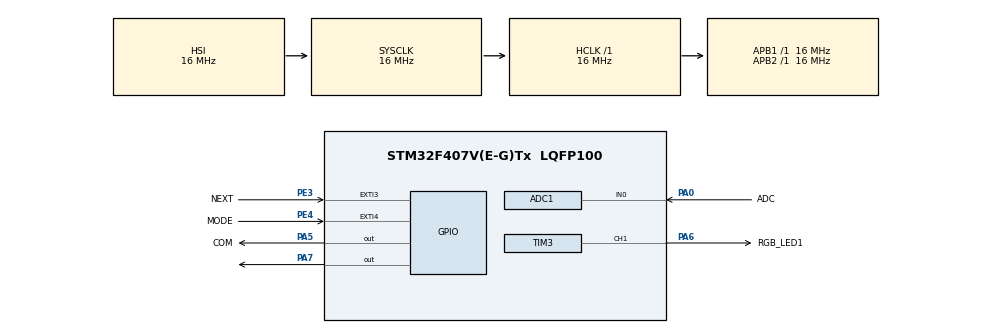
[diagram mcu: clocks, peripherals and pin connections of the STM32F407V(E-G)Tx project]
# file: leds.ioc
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ADC1.Channel-0\#ChannelRegularConversion=ADC_CHANNEL_0
ADC1.ContinuousConvMode=DISABLE
ADC1.DMAContinuousRequests=DISABLE
ADC1.NbrOfConversionFlag=1
ADC1.Rank-0\#ChannelRegularConversion=1
ADC1.SamplingTime-0\#ChannelRegularConversion=ADC_SAMPLETIME_15CYCLES
ADC1.master=1
Dma.Request0=TIM3_CH1/TRIG
Dma.TIM3_CH1/TRIG.0.Direction=DMA_MEMORY_TO_PERIPH
Dma.TIM3_CH1/TRIG.0.FIFOMode=DMA_FIFOMODE_DISABLE
Dma.TIM3_CH1/TRIG.0.Instance=DMA1_Stream4
Dma.TIM3_CH1/TRIG.0.MemDataAlignment=DMA_MDATAALIGN_HALFWORD
Dma.TIM3_CH1/TRIG.0.MemInc=DMA_MINC_ENABLE
Dma.TIM3_CH1/TRIG.0.Mode=DMA_CIRCULAR
Dma.TIM3_CH1/TRIG.0.PeriphDataAlignment=DMA_PDATAALIGN_HALFWORD
Dma.TIM3_CH1/TRIG.0.PeriphInc=DMA_PINC_DISABLE
Dma.TIM3_CH1/TRIG.0.Priority=DMA_PRIORITY_HIGH
Mcu.Family=STM32F4
Mcu.Name=STM32F407V(E-G)Tx
Mcu.Package=LQFP100
Mcu.UserConstants=LED_CNT,20
NVIC.DMA1_Stream4_IRQn=true\:0\:0\:false\:false\:true\:false\:true\:true
NVIC.EXTI3_IRQn=true\:2\:0\:true\:false\:true\:true\:true\:true
NVIC.EXTI4_IRQn=true\:2\:0\:true\:false\:true\:true\:true\:true
NVIC.PriorityGroup=NVIC_PRIORITYGROUP_4
NVIC.RCC_IRQn=true\:0\:0\:false\:false\:true\:true\:false\:true
PA0-WKUP.GPIO_Label=ADC
PA0-WKUP.Signal=ADCx_IN0
PA13.Mode=Serial_Wire
PA13.Signal=SYS_JTMS-SWDIO
PA14.Mode=Serial_Wire
PA14.Signal=SYS_JTCK-SWCLK
PA5.GPIO_Label=COM
PA5.Signal=GPIO_Output
PA6.GPIO_Label=RGB_LED1
PA6.Signal=S_TIM3_CH1
PA7.Signal=GPIO_Output
PE3.GPIO_Label=NEXT
PE3.GPIO_ModeDefaultEXTI=GPIO_MODE_IT_FALLING
PE3.GPIO_PuPd=GPIO_PULLUP
PE3.Signal=GPXTI3
PE4.GPIO_Label=MODE
PE4.GPIO_ModeDefaultEXTI=GPIO_MODE_IT_FALLING
PE4.GPIO_PuPd=GPIO_PULLUP
PE4.Signal=GPXTI4
ProjectManager.HeapSize=0x200
ProjectManager.StackSize=0x400
ProjectManager.TargetToolchain=STM32CubeIDE
RCC.48MHZClocksFreq_Value=20000000
RCC.AHBFreq_Value=16000000
RCC.APB1Freq_Value=16000000
RCC.APB1TimFreq_Value=16000000
RCC.APB2Freq_Value=16000000
RCC.APB2TimFreq_Value=16000000
RCC.CortexFreq_Value=16000000
RCC.HCLKFreq_Value=16000000
RCC.HSE_VALUE=25000000
RCC.HSI_VALUE=16000000
RCC.LSE_VALUE=32768
RCC.PLLM=8
RCC.PLLN=50
RCC.PLLQ=5
RCC.SYSCLKFreq_VALUE=16000000
RCC.VCOOutputFreq_Value=100000000
SH.ADCx_IN0.0=ADC1_IN0,IN0
SH.S_TIM3_CH1.0=TIM3_CH1,PWM Generation1 CH1
STMicroelectronics.X-CUBE-ALGOBUILD.1.4.0.LibraryCcDSPOoLibraryJjDSPOoLibrary=true
TIM3.Channel-PWM\ Generation1\ CH1=TIM_CHANNEL_1
TIM3.Period=LED_CNT
VP_STMicroelectronics.X-CUBE-ALGOBUILD_VS_DSPOoLibraryJjLibrary_1.4.0_1.4.0.Mode=DSPOoLibraryJjLibrary
VP_TIM3_VS_ClockSourceINT.Mode=Internal
board=custom

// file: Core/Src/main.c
/* USER CODE BEGIN Header */
/**
  ******************************************************************************
  * @file           : main.c
  * @brief          : Main program body
  ******************************************************************************
  * @attention
  *
  * Copyright (c) 2025 STMicroelectronics.
  * All rights reserved.
  *
  * This software is licensed under terms that can be found in the LICENSE file
  * in the root directory of this software component.
  * If no LICENSE file comes with this software, it is provided AS-IS.
  *
  ******************************************************************************
  */
/* USER CODE END Header */
#include "main.h"

/* USER CODE BEGIN Includes */

#include <string.h>
#include <stdint.h>
#include <stdlib.h>
#include <stdbool.h>
#include "color_values.h"
#include "ws2812_demos.h"
#include "arm_math.h"
/* USER CODE END Includes */

/* USER CODE BEGIN PD */
#define FFT_LENGTH 512

/* USER CODE END PD */

ADC_HandleTypeDef hadc1;

TIM_HandleTypeDef htim3;
DMA_HandleTypeDef hdma_tim3_ch1_trig;

/* USER CODE BEGIN PV */
uint8_t mode = 0;
uint8_t next = 0;
float input_fft[FFT_LENGTH];
float output_fft[FFT_LENGTH];
float output_fft_mag[FFT_LENGTH / 2];
ADC_HandleTypeDef hadc1;
ws2812_handleTypeDef ws2812;
arm_rfft_fast_instance_f32 fft_instance;

/* USER CODE END PV */

void SystemClock_Config(void);
static void MX_GPIO_Init(void);
static void MX_DMA_Init(void);
static void MX_TIM3_Init(void);
static void MX_ADC1_Init(void);

/* USER CODE BEGIN 0 */

void HAL_TIM_PWM_PulseFinishedHalfCpltCallback(TIM_HandleTypeDef *htim) {

    if (htim->Instance == TIM3) {
        ws2812_update_buffer(&ws2812, &ws2812.dma_buffer[0]);
    }
}
void HAL_TIM_PWM_PulseFinishedCallback(TIM_HandleTypeDef *htim) {

    if (htim->Instance == TIM3) {
        ws2812_update_buffer(&ws2812, &ws2812.dma_buffer[BUFFER_SIZE]);
    }

}
void ws2812_demos_freq(arm_rfft_fast_instance_f32 fft_instance, ws2812_handleTypeDef *ws2812)
{
	uint16_t adc_value = 0;
	  for (int i = 0; i < FFT_LENGTH; i++) {
		  HAL_ADC_Start(&hadc1);
		  adc_value = HAL_ADC_GetValue(&hadc1);
		  HAL_ADC_Stop(&hadc1);
		  input_fft[i] = ((float)adc_value - MINSOUND) / MINSOUND;
	  }
	  arm_rfft_fast_f32(&fft_instance, input_fft, output_fft, 0);
	  arm_cmplx_mag_f32(output_fft, output_fft_mag, FFT_LENGTH / 2);

	  for (int i = 1; i <= LEDS; i++)
	  {
		  float out = ((output_fft_mag[(i*7)]>0.85f)?output_fft_mag[(i*7)]:0);
//		  ws2812.led[3 * i + RL] = color[(uint8_t)out][0];
//		  ws2812.led[3 * i + GL] = color[(uint8_t)out][1];
//		  ws2812.led[3 * i + BL] = color[(uint8_t)out][2];
//		  ws2812.led[3 * i + RL] = out*color[i][0];
//		  ws2812.led[3 * i + GL] = out*color[i][1];
//		  ws2812.led[3 * i + BL] = out*color[i][2];
		  ws2812->led[3 * i + RL] = BRIGHTNESS_ADJUST*out*50;
		  ws2812->led[3 * i + GL] = BRIGHTNESS_ADJUST*out*50;
		  ws2812->led[3 * i + BL] = BRIGHTNESS_ADJUST*out*50;
	  }
	  ws2812->is_dirty = true;

}
void HAL_GPIO_EXTI_Callback(uint16_t GPIO_Pin)
{
    if (GPIO_Pin == GPIO_PIN_4) {
    	mode = (mode + 1)%5;
    	zeroLedValues(&ws2812);
    }
    if (GPIO_Pin == GPIO_PIN_3)
    {
    	next = (next + 1)%3;
    }
}
/* USER CODE END 0 */

int main(void)
{

  /* MCU Configuration--------------------------------------------------------*/

  /* Reset of all peripherals, Initializes the Flash interface and the Systick. */
  HAL_Init();

  /* Configure the system clock */
  SystemClock_Config();

  /* Initialize all configured peripherals */
  MX_GPIO_Init();
  MX_DMA_Init();
  MX_TIM3_Init();
  MX_ADC1_Init();
  /* USER CODE BEGIN 2 */
  __HAL_RCC_GPIOA_CLK_ENABLE();
  arm_rfft_fast_init_f32(&fft_instance, FFT_LENGTH);
  ws2812_init(&ws2812, &htim3, TIM_CHANNEL_1, LEDS);
  ws2812_demos_set(&ws2812, 3);
  //ws2812_demos_set(&ws2812, 1);
  //light_up_all_leds(&ws2812);
  //ws2812_demos_tick(&ws2812);
  /* USER CODE END 2 */

  /* Infinite loop */
  /* USER CODE BEGIN WHILE */
  HAL_ADC_Start(&hadc1);
  uint16_t adc_value = 0;
  HAL_ADC_Start_DMA(&hadc1, (uint32_t*)&adc_value, 1);
  uint32_t now = 0, next_tick = 1000;
  while (1)
  {
	  now = uwTick;
	  if (now < 100)
	  {
		  zeroLedValues(&ws2812);
		  continue;
	  }

//	  ws2812_demos_tick(&ws2812, adc_value);

//	  ws2812_demos_freq(fft_instance, &ws2812, adc_value);
	  switch (mode)
	  {
	  case 0:
		  ws2812_demos_set(&ws2812, 4);
		  ws2812_demos_tick(&ws2812, 0, next);
		  break;
	  case 1:
		  ws2812_demos_set(&ws2812, 5);
		  ws2812_demos_tick(&ws2812, 0, next);
		  break;
	  case 2:
		  ws2812_demos_set(&ws2812, 2);
		  ws2812_demos_tick(&ws2812, 0, next);
		  break;
	  case 3:
		  ws2812_demos_set(&ws2812, 6);
		  ws2812_demos_tick(&ws2812, 0, next);
		  break;
	  case 4:
		  HAL_ADC_Start(&hadc1);
		  adc_value = HAL_ADC_GetValue(&hadc1);
		  HAL_ADC_Stop(&hadc1);
		  ws2812_demos_set(&ws2812, 3);
		  ws2812_demos_tick(&ws2812, adc_value, next);
//		  if (now > next_tick && adc_value > 2150)
//		  {
//			  HAL_GPIO_TogglePin(GPIOA, GPIO_PIN_7);
//			  next_tick = now + 100;
//		  }
		  break;
	  case 5:
		  ws2812_demos_freq(fft_instance, &ws2812);
		  break;
	  default:
	  }

    /* USER CODE END WHILE */

  }
}

void SystemClock_Config(void)
{
  RCC_OscInitTypeDef RCC_OscInitStruct = {0};
  RCC_ClkInitTypeDef RCC_ClkInitStruct = {0};

  /** Configure the main internal regulator output voltage
  */
  __HAL_RCC_PWR_CLK_ENABLE();
  __HAL_PWR_VOLTAGESCALING_CONFIG(PWR_REGULATOR_VOLTAGE_SCALE1);

  /** Initializes the RCC Oscillators according to the specified parameters
  * in the RCC_OscInitTypeDef structure.
  */
  RCC_OscInitStruct.OscillatorType = RCC_OSCILLATORTYPE_HSI;
  RCC_OscInitStruct.HSIState = RCC_HSI_ON;
  RCC_OscInitStruct.HSICalibrationValue = RCC_HSICALIBRATION_DEFAULT;
  RCC_OscInitStruct.PLL.PLLState = RCC_PLL_NONE;
  if (HAL_RCC_OscConfig(&RCC_OscInitStruct) != HAL_OK)
  {
    Error_Handler();
  }

  /** Initializes the CPU, AHB and APB buses clocks
  */
  RCC_ClkInitStruct.ClockType = RCC_CLOCKTYPE_HCLK|RCC_CLOCKTYPE_SYSCLK
                              |RCC_CLOCKTYPE_PCLK1|RCC_CLOCKTYPE_PCLK2;
  RCC_ClkInitStruct.SYSCLKSource = RCC_SYSCLKSOURCE_HSI;
  RCC_ClkInitStruct.AHBCLKDivider = RCC_SYSCLK_DIV1;
  RCC_ClkInitStruct.APB1CLKDivider = RCC_HCLK_DIV1;
  RCC_ClkInitStruct.APB2CLKDivider = RCC_HCLK_DIV1;

  if (HAL_RCC_ClockConfig(&RCC_ClkInitStruct, FLASH_LATENCY_0) != HAL_OK)
  {
    Error_Handler();
  }
}

static void MX_ADC1_Init(void)
{

  ADC_ChannelConfTypeDef sConfig = {0};

  /** Configure the global features of the ADC (Clock, Resolution, Data Alignment and number of conversion)
  */
  hadc1.Instance = ADC1;
  hadc1.Init.ClockPrescaler = ADC_CLOCK_SYNC_PCLK_DIV2;
  hadc1.Init.Resolution = ADC_RESOLUTION_12B;
  hadc1.Init.ScanConvMode = DISABLE;
  hadc1.Init.ContinuousConvMode = DISABLE;
  hadc1.Init.DiscontinuousConvMode = DISABLE;
  hadc1.Init.ExternalTrigConvEdge = ADC_EXTERNALTRIGCONVEDGE_NONE;
  hadc1.Init.ExternalTrigConv = ADC_SOFTWARE_START;
  hadc1.Init.DataAlign = ADC_DATAALIGN_RIGHT;
  hadc1.Init.NbrOfConversion = 1;
  hadc1.Init.DMAContinuousRequests = DISABLE;
  hadc1.Init.EOCSelection = ADC_EOC_SINGLE_CONV;
  if (HAL_ADC_Init(&hadc1) != HAL_OK)
  {
    Error_Handler();
  }

  /** Configure for the selected ADC regular channel its corresponding rank in the sequencer and its sample time.
  */
  sConfig.Channel = ADC_CHANNEL_0;
  sConfig.Rank = 1;
  sConfig.SamplingTime = ADC_SAMPLETIME_15CYCLES;
  if (HAL_ADC_ConfigChannel(&hadc1, &sConfig) != HAL_OK)
  {
    Error_Handler();
  }

}

static void MX_TIM3_Init(void)
{

  TIM_ClockConfigTypeDef sClockSourceConfig = {0};
  TIM_MasterConfigTypeDef sMasterConfig = {0};
  TIM_OC_InitTypeDef sConfigOC = {0};

  htim3.Instance = TIM3;
  htim3.Init.Prescaler = 0;
  htim3.Init.CounterMode = TIM_COUNTERMODE_UP;
  htim3.Init.Period = LED_CNT;
  htim3.Init.ClockDivision = TIM_CLOCKDIVISION_DIV1;
  htim3.Init.AutoReloadPreload = TIM_AUTORELOAD_PRELOAD_DISABLE;
  if (HAL_TIM_Base_Init(&htim3) != HAL_OK)
  {
    Error_Handler();
  }
  sClockSourceConfig.ClockSource = TIM_CLOCKSOURCE_INTERNAL;
  if (HAL_TIM_ConfigClockSource(&htim3, &sClockSourceConfig) != HAL_OK)
  {
    Error_Handler();
  }
  if (HAL_TIM_PWM_Init(&htim3) != HAL_OK)
  {
    Error_Handler();
  }
  sMasterConfig.MasterOutputTrigger = TIM_TRGO_RESET;
  sMasterConfig.MasterSlaveMode = TIM_MASTERSLAVEMODE_DISABLE;
  if (HAL_TIMEx_MasterConfigSynchronization(&htim3, &sMasterConfig) != HAL_OK)
  {
    Error_Handler();
  }
  sConfigOC.OCMode = TIM_OCMODE_PWM1;
  sConfigOC.Pulse = 0;
  sConfigOC.OCPolarity = TIM_OCPOLARITY_HIGH;
  sConfigOC.OCFastMode = TIM_OCFAST_DISABLE;
  if (HAL_TIM_PWM_ConfigChannel(&htim3, &sConfigOC, TIM_CHANNEL_1) != HAL_OK)
  {
    Error_Handler();
  }
  HAL_TIM_MspPostInit(&htim3);

}

static void MX_DMA_Init(void)
{

  /* DMA controller clock enable */
  __HAL_RCC_DMA1_CLK_ENABLE();

  /* DMA interrupt init */
  /* DMA1_Stream4_IRQn interrupt configuration */
  HAL_NVIC_SetPriority(DMA1_Stream4_IRQn, 0, 0);
  HAL_NVIC_EnableIRQ(DMA1_Stream4_IRQn);

}

static void MX_GPIO_Init(void)
{
  GPIO_InitTypeDef GPIO_InitStruct = {0};

  /* GPIO Ports Clock Enable */
  __HAL_RCC_GPIOE_CLK_ENABLE();
  __HAL_RCC_GPIOA_CLK_ENABLE();

  /*Configure GPIO pin Output Level */
  HAL_GPIO_WritePin(GPIOA, COM_Pin|GPIO_PIN_7, GPIO_PIN_RESET);

  /*Configure GPIO pins : NEXT_Pin MODE_Pin */
  GPIO_InitStruct.Pin = NEXT_Pin|MODE_Pin;
  GPIO_InitStruct.Mode = GPIO_MODE_IT_FALLING;
  GPIO_InitStruct.Pull = GPIO_PULLUP;
  HAL_GPIO_Init(GPIOE, &GPIO_InitStruct);

  /*Configure GPIO pins : COM_Pin PA7 */
  GPIO_InitStruct.Pin = COM_Pin|GPIO_PIN_7;
  GPIO_InitStruct.Mode = GPIO_MODE_OUTPUT_PP;
  GPIO_InitStruct.Pull = GPIO_NOPULL;
  GPIO_InitStruct.Speed = GPIO_SPEED_FREQ_LOW;
  HAL_GPIO_Init(GPIOA, &GPIO_InitStruct);

  /* EXTI interrupt init*/
  HAL_NVIC_SetPriority(EXTI3_IRQn, 2, 0);
  HAL_NVIC_EnableIRQ(EXTI3_IRQn);

  HAL_NVIC_SetPriority(EXTI4_IRQn, 2, 0);
  HAL_NVIC_EnableIRQ(EXTI4_IRQn);

}

void Error_Handler(void)
{
  __disable_irq();
  while (1)
  {
  }
}
